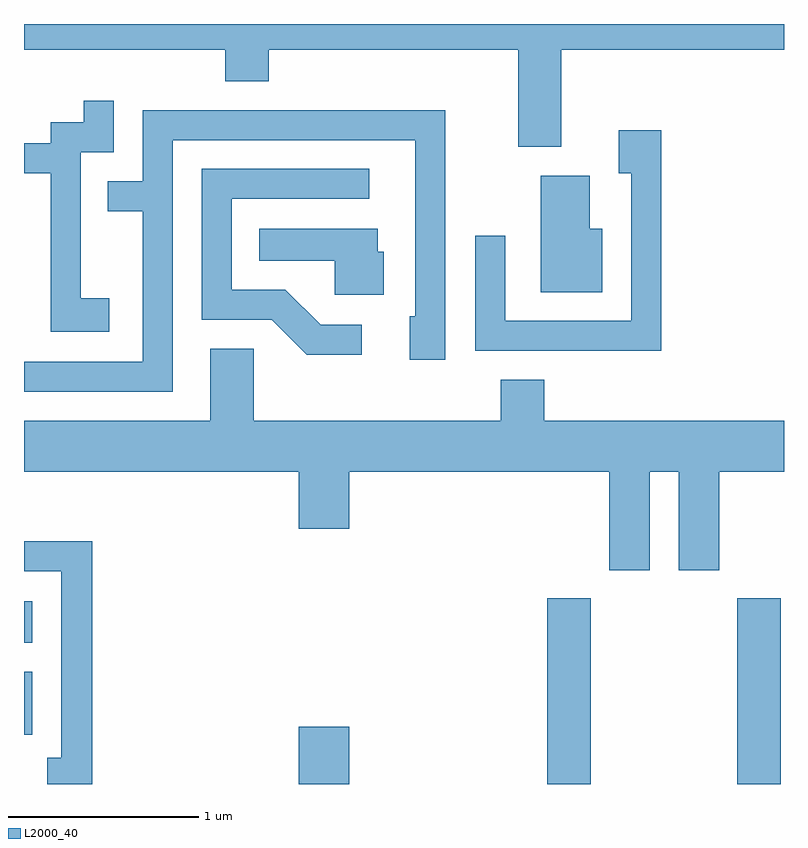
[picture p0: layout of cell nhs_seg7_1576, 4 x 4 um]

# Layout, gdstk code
import gdstk
lib = gdstk.Library(unit=1e-6, precision=1e-09)
def R(c, l, rs):  # rectangles x0, y0, x1, y1
    for r in rs: c.add(gdstk.rectangle(r[:2], r[2:], *l))
def P(c, l, *ps):  # polygons
    for p in ps: c.add(gdstk.Polygon(p, *l))
L2000_40 = (2000, 40)

nhs_seg7_1576 = lib.new_cell('nhs_seg7_1576')
R(nhs_seg7_1576, L2000_40, [(235.056,1688.252,235.324,1688.554), (236.366,1688.252,236.594,1689.229), (237.366,1688.252,237.594,1689.229), (233.611,1688.511,233.654,1688.844), (233.611,1688.996,233.654,1689.214)])
P(nhs_seg7_1576, L2000_40, [(236.439,1692.116),(237.611,1692.116),(237.611,1692.252),(233.611,1692.252),(233.611,1692.116),(234.671,1692.116),(234.671,1691.951),(234.899,1691.951),(234.899,1692.116),(236.211,1692.116),(236.211,1691.606),(236.439,1691.606)],
  [(234.059,1690.809),(233.909,1690.809),(233.909,1691.576),(234.084,1691.576),(234.084,1691.848),(233.926,1691.848),(233.926,1691.734),(233.751,1691.734),(233.751,1691.624),(233.611,1691.624),(233.611,1691.466),(233.751,1691.466),(233.751,1690.631),(234.059,1690.631)],
  [(234.394,1691.641),(235.671,1691.641),(235.671,1690.714),(235.641,1690.714),(235.641,1690.486),(235.829,1690.486),(235.829,1691.799),(234.236,1691.799),(234.236,1691.424),(234.053,1691.424),(234.053,1691.266),(234.236,1691.266),(234.236,1690.474),(233.611,1690.474),(233.611,1690.316),(234.394,1690.316)],
  [(236.964,1691.694),(236.741,1691.694),(236.741,1691.466),(236.806,1691.466),(236.806,1690.689),(236.144,1690.689),(236.144,1691.138),(235.986,1691.138),(235.986,1690.531),(236.964,1690.531)],
  [(235.388,1690.669),(235.172,1690.669),(234.987,1690.854),(234.704,1690.854),(234.704,1691.331),(235.428,1691.331),(235.428,1691.489),(234.546,1691.489),(234.546,1690.696),(234.914,1690.696),(235.099,1690.511),(235.388,1690.511)],
  [(236.654,1691.174),(236.589,1691.174),(236.589,1691.454),(236.331,1691.454),(236.331,1690.841),(236.654,1690.841)],
  [(235.504,1691.054),(235.474,1691.054),(235.474,1691.174),(234.848,1691.174),(234.848,1691.006),(235.246,1691.006),(235.246,1690.826),(235.504,1690.826)],
  [(236.904,1689.896),(237.056,1689.896),(237.056,1689.376),(237.269,1689.376),(237.269,1689.896),(237.611,1689.896),(237.611,1690.164),(236.349,1690.164),(236.349,1690.379),(236.121,1690.379),(236.121,1690.164),(234.819,1690.164),(234.819,1690.544),(234.591,1690.544),(234.591,1690.164),(233.611,1690.164),(233.611,1689.896),(235.056,1689.896),(235.056,1689.596),(235.324,1689.596),(235.324,1689.896),(236.691,1689.896),(236.691,1689.376),(236.904,1689.376)],
  [(233.969,1689.529),(233.611,1689.529),(233.611,1689.371),(233.806,1689.371),(233.806,1688.389),(233.733,1688.389),(233.733,1688.252),(233.969,1688.252)])

lib.write_gds('nhs_seg7_1576.gds')
